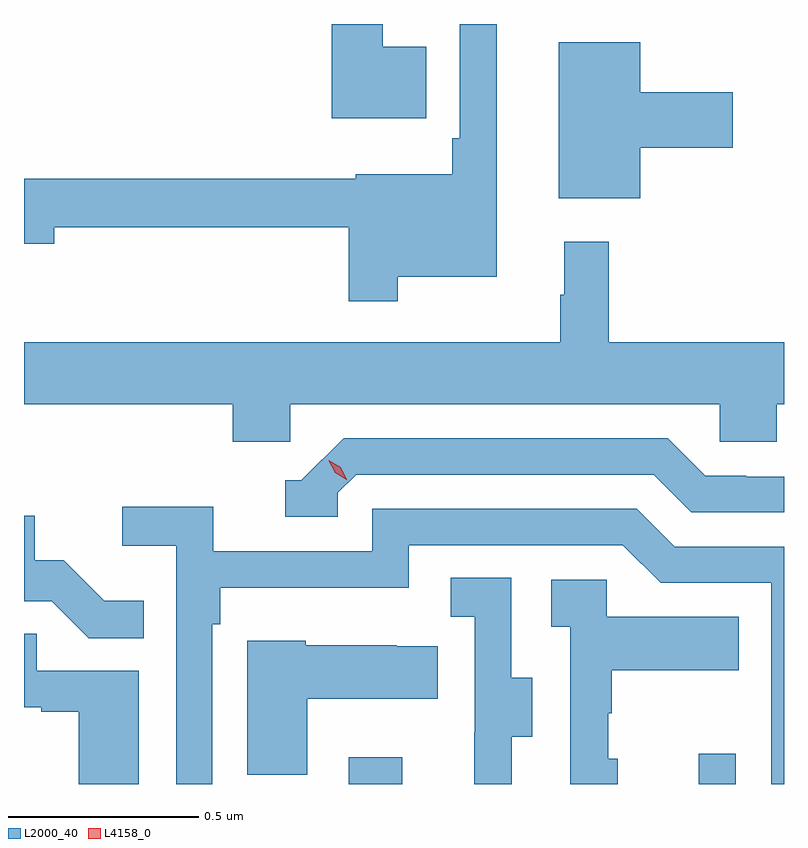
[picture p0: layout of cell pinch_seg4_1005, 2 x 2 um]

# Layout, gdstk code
import gdstk
lib = gdstk.Library(unit=1e-6, precision=1e-09)
def R(c, l, rs):  # rectangles x0, y0, x1, y1
    for r in rs: c.add(gdstk.rectangle(r[:2], r[2:], *l))
def P(c, l, *ps):  # polygons
    for p in ps: c.add(gdstk.Polygon(p, *l))
L2000_40 = (2000, 40)
L4158_0 = (4158, 0)

pinch_seg4_1005 = lib.new_cell('pinch_seg4_1005')
R(pinch_seg4_1005, L2000_40, [(856.919,787.829,857.059,787.9), (857.84,787.829,857.937,787.909)])
P(pinch_seg4_1005, L2000_40, [(857.122,789.769),(857.008,789.769),(857.008,789.829),(856.874,789.829),(856.874,789.581),(857.122,789.581)],
  [(857.047,789.164),(857.308,789.164),(857.308,789.829),(857.211,789.829),(857.211,789.529),(857.191,789.529),(857.191,789.433),(856.937,789.433),(856.937,789.422),(856.064,789.422),(856.064,789.251),(856.144,789.251),(856.144,789.294),(856.918,789.294),(856.918,789.099),(857.047,789.099)],
  [(857.686,789.503),(857.929,789.503),(857.929,789.65),(857.686,789.65),(857.686,789.781),(857.471,789.781),(857.471,789.371),(857.686,789.371)],
  [(857.603,789.256),(857.486,789.256),(857.486,789.116),(857.475,789.116),(857.475,788.992),(856.064,788.992),(856.064,788.828),(856.613,788.828),(856.613,788.73),(856.764,788.73),(856.764,788.828),(857.895,788.828),(857.895,788.73),(858.045,788.73),(858.045,788.828),(858.064,788.828),(858.064,788.992),(857.603,788.992)],
  [(856.89,788.595),(856.938,788.643),(857.721,788.643),(857.82,788.544),(858.064,788.544),(858.064,788.637),(857.964,788.637),(857.964,788.64),(857.857,788.64),(857.758,788.739),(856.905,788.739),(856.794,788.628),(856.751,788.628),(856.751,788.532),(856.89,788.532)],
  [(856.56,788.249),(856.58,788.249),(856.58,788.345),(857.076,788.345),(857.076,788.457),(857.64,788.457),(857.739,788.358),(858.03,788.358),(858.03,787.829),(858.064,787.829),(858.064,788.454),(857.776,788.454),(857.677,788.553),(856.98,788.553),(856.98,788.442),(856.562,788.442),(856.562,788.558),(856.323,788.558),(856.323,788.456),(856.464,788.456),(856.464,787.829),(856.56,787.829)],
  [(856.379,788.311),(856.275,788.311),(856.168,788.418),(856.092,788.418),(856.092,788.535),(856.064,788.535),(856.064,788.31),(856.137,788.31),(856.235,788.212),(856.379,788.212)],
  [(857.347,787.954),(857.401,787.954),(857.401,788.109),(857.346,788.109),(857.346,788.372),(857.187,788.372),(857.187,788.269),(857.25,788.269),(857.25,787.965),(857.249,787.965),(857.249,787.829),(857.347,787.829)],
  [(857.626,787.896),(857.601,787.896),(857.601,788.015),(857.611,788.015),(857.611,788.129),(857.945,788.129),(857.945,788.269),(857.598,788.269),(857.598,788.367),(857.451,788.367),(857.451,788.243),(857.502,788.243),(857.502,787.829),(857.626,787.829)],
  [(856.366,788.127),(856.097,788.127),(856.097,788.225),(856.064,788.225),(856.064,788.031),(856.109,788.031),(856.109,788.019),(856.208,788.019),(856.208,787.829),(856.366,787.829)],
  [(856.81,788.054),(857.153,788.054),(857.153,788.191),(857.045,788.191),(857.045,788.194),(856.806,788.194),(856.806,788.206),(856.652,788.206),(856.652,787.854),(856.81,787.854)])
P(pinch_seg4_1005, L4158_0, [(856.914,788.629),(856.883,788.648),(856.866,788.68),(856.866,788.681),(856.866,788.681),(856.898,788.662),(856.914,788.629),(856.914,788.629)])

lib.write_gds('pinch_seg4_1005.gds')
